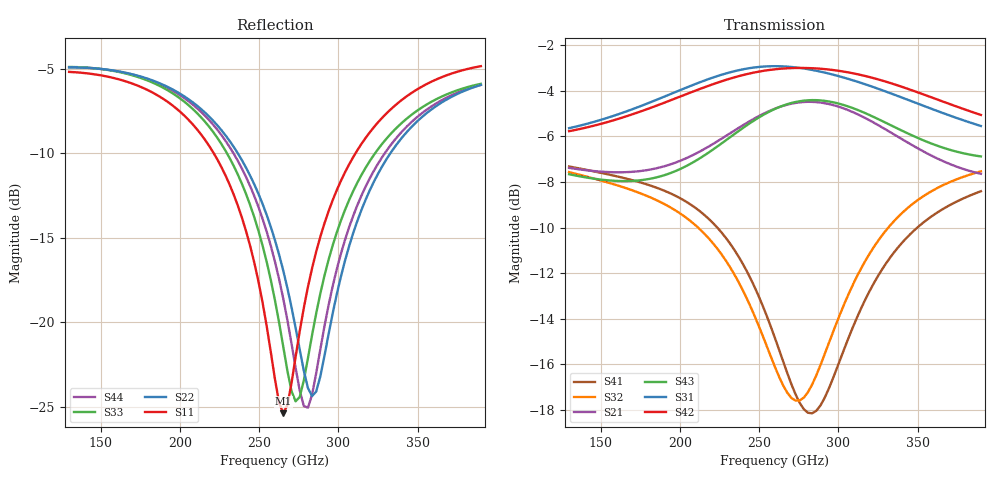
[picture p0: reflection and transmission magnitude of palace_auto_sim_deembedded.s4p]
! Created with skrf 2.0.1 (http://scikit-rf.org).
# GHz S DB R 50.0
!freq dBS11 angS11 dBS12 angS12 dBS13 angS13
! dBS14 angS14
! dBS21 angS21 dBS22 angS22 dBS23 angS23
! dBS24 angS24
! dBS31 angS31 dBS32 angS32 dBS33 angS33
! dBS34 angS34
! dBS41 angS41 dBS42 angS42 dBS43 angS43
! dBS44 angS44
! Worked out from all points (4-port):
!   101 points, 130 GHz to 390 GHz, reference 50 ohm
!   strongest paths, dB at 130 GHz, 195 GHz, 260 GHz, 325 GHz, 390 GHz:
!     S42: -5.8, -4.4, -3.1, -3.5, -5.1
!     S31: -5.6, -4.1, -2.9, -3.9, -5.5
!     S43: -7.7, -7.6, -4.8, -5.2, -6.9
!     S21: -7.4, -7.2, -4.8, -5.5, -7.6
!     S32: -7.6, -9.2, -16.1, -10.6, -7.5
!     S41: -7.3, -8.5, -14.8, -12.1, -8.4
!   lowest |S11| = -25.4 dB at 265.2 GHz (marker M1), VSWR 1.11, Z = 55.4 + j1.69 ohm
!   |S11| at or under -10 dB: 221.3 GHz to 310.9 GHz (89.62 GHz wide, 33.7 % of centre)
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130  -5.20 168.1  -7.38 -46.6  -5.64 -74.8  -7.32 -57.5
     -7.38 -46.6  -4.93 157.2  -7.56 -62.1  -5.77 -79.6
     -5.64 -74.8  -7.56 -62.1  -4.91 156.2  -7.66 -50.7
     -7.32 -57.5  -5.77 -79.6  -7.66 -50.7  -4.92 156.9
221  -9.96 124.5  -6.32 -65.5  -3.41 -135.2  -9.81 -102.6
     -6.32 -65.5  -8.09 110.3  -10.70 -107.1  -3.71 -141.2
     -3.41 -135.2  -10.70 -107.1  -8.76 104.3  -6.57 -68.6
     -9.81 -102.6  -3.71 -141.2  -6.57 -68.6  -8.32 108.3
265.2  -25.37 16.4  -4.66 -87.3  -2.93 -173.4  -15.87 -114.4
       -4.66 -87.3  -16.94 64.5  -16.92 -106.7  -3.02 -179.1
       -2.93 -173.4  -16.92 -106.7  -21.43 36.5  -4.65 -91.3
       -15.87 -114.4  -3.02 -179.1  -4.65 -91.3  -18.59 57.3
273  -22.05 -37.1  -4.53 -92.3  -2.97 179.8  -17.31 -107.1
     -4.53 -92.3  -20.31 45.5  -17.58 -95.5  -3.00 174.0
     -2.97 179.8  -17.58 -95.5  -24.66 -12.0  -4.49 -96.6
     -17.31 -107.1  -3.00 174.0  -4.49 -96.6  -22.68 30.8
283.4  -16.81 -64.7  -4.48 -99.3  -3.08 170.9  -18.14 -90.4
       -4.48 -99.3  -24.35 -10.3  -16.89 -80.0  -3.01 164.8
       -3.08 170.9  -16.89 -80.0  -20.75 -73.9  -4.41 -103.9
       -18.14 -90.4  -3.01 164.8  -4.41 -103.9  -24.27 -42.1
322.4  -8.47 -100.2  -5.40 -122.8  -3.84 139.5  -12.44 -69.5
       -5.40 -122.8  -11.70 -115.6  -10.85 -77.2  -3.45 131.1
       -3.84 139.5  -10.85 -77.2  -10.11 -128.1  -5.15 -128.2
       -12.44 -69.5  -3.45 131.1  -5.15 -128.2  -11.05 -121.9
390  -4.86 -131.5  -7.64 -143.0  -5.54 93.8  -8.40 -101.9
     -7.64 -143.0  -5.97 -160.5  -7.53 -115.7  -5.06 80.3
     -5.54 93.8  -7.53 -115.7  -5.90 -166.7  -6.88 -151.8
     -8.40 -101.9  -5.06 80.3  -6.88 -151.8  -5.97 -164.0
